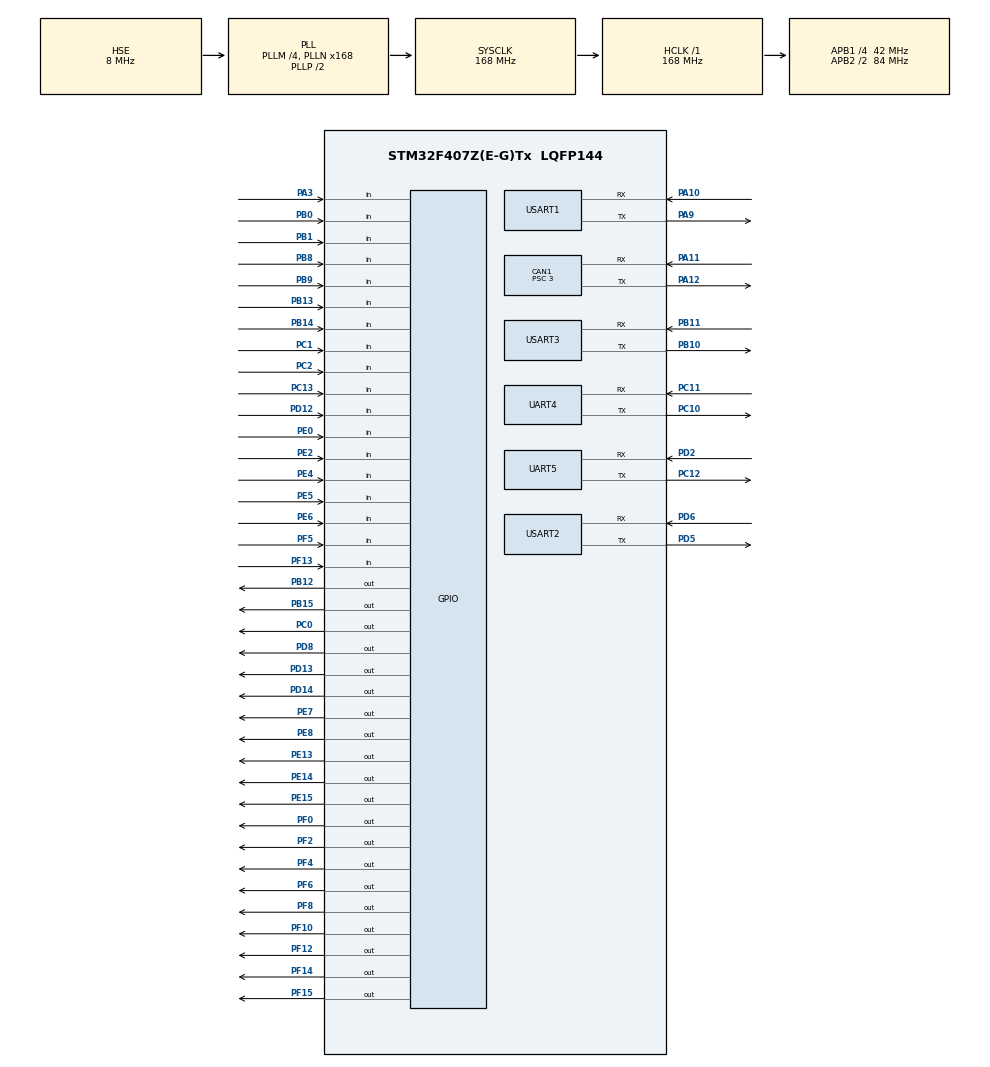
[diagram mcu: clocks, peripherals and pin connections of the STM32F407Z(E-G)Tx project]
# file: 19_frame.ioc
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CAN1.ABOM=ENABLE
CAN1.BS1=CAN_BS1_9TQ
CAN1.BS2=CAN_BS2_4TQ
CAN1.CalculateTimeBit=1000
CAN1.CalculateTimeQuantum=71.42857142857143
CAN1.Prescaler=3
CAN1.TXFP=ENABLE
Dma.Request0=USART3_RX
Dma.Request1=USART3_TX
Dma.Request2=USART1_TX
Dma.Request3=USART1_RX
Dma.USART1_RX.3.Direction=DMA_PERIPH_TO_MEMORY
Dma.USART1_RX.3.FIFOMode=DMA_FIFOMODE_DISABLE
Dma.USART1_RX.3.Instance=DMA2_Stream2
Dma.USART1_RX.3.MemDataAlignment=DMA_MDATAALIGN_BYTE
Dma.USART1_RX.3.MemInc=DMA_MINC_ENABLE
Dma.USART1_RX.3.Mode=DMA_CIRCULAR
Dma.USART1_RX.3.PeriphDataAlignment=DMA_PDATAALIGN_BYTE
Dma.USART1_RX.3.PeriphInc=DMA_PINC_DISABLE
Dma.USART1_RX.3.Priority=DMA_PRIORITY_LOW
Dma.USART1_TX.2.Direction=DMA_MEMORY_TO_PERIPH
Dma.USART1_TX.2.FIFOMode=DMA_FIFOMODE_DISABLE
Dma.USART1_TX.2.Instance=DMA2_Stream7
Dma.USART1_TX.2.MemDataAlignment=DMA_MDATAALIGN_BYTE
Dma.USART1_TX.2.MemInc=DMA_MINC_ENABLE
Dma.USART1_TX.2.Mode=DMA_NORMAL
Dma.USART1_TX.2.PeriphDataAlignment=DMA_PDATAALIGN_BYTE
Dma.USART1_TX.2.PeriphInc=DMA_PINC_DISABLE
Dma.USART1_TX.2.Priority=DMA_PRIORITY_LOW
Dma.USART3_RX.0.Direction=DMA_PERIPH_TO_MEMORY
Dma.USART3_RX.0.FIFOMode=DMA_FIFOMODE_DISABLE
Dma.USART3_RX.0.Instance=DMA1_Stream1
Dma.USART3_RX.0.MemDataAlignment=DMA_MDATAALIGN_BYTE
Dma.USART3_RX.0.MemInc=DMA_MINC_ENABLE
Dma.USART3_RX.0.Mode=DMA_CIRCULAR
Dma.USART3_RX.0.PeriphDataAlignment=DMA_PDATAALIGN_BYTE
Dma.USART3_RX.0.PeriphInc=DMA_PINC_DISABLE
Dma.USART3_RX.0.Priority=DMA_PRIORITY_LOW
Dma.USART3_TX.1.Direction=DMA_MEMORY_TO_PERIPH
Dma.USART3_TX.1.FIFOMode=DMA_FIFOMODE_DISABLE
Dma.USART3_TX.1.Instance=DMA1_Stream3
Dma.USART3_TX.1.MemDataAlignment=DMA_MDATAALIGN_BYTE
Dma.USART3_TX.1.MemInc=DMA_MINC_ENABLE
Dma.USART3_TX.1.Mode=DMA_NORMAL
Dma.USART3_TX.1.PeriphDataAlignment=DMA_PDATAALIGN_BYTE
Dma.USART3_TX.1.PeriphInc=DMA_PINC_DISABLE
Dma.USART3_TX.1.Priority=DMA_PRIORITY_LOW
Mcu.Family=STM32F4
Mcu.Name=STM32F407Z(E-G)Tx
Mcu.Package=LQFP144
NVIC.CAN1_RX0_IRQn=true\:1\:0\:true\:true\:true\:1\:true\:true
NVIC.DMA1_Stream1_IRQn=true\:0\:0\:false\:false\:true\:false\:true
NVIC.DMA1_Stream3_IRQn=true\:0\:0\:false\:false\:true\:false\:true
NVIC.DMA2_Stream2_IRQn=true\:0\:0\:false\:false\:true\:false\:true
NVIC.DMA2_Stream7_IRQn=true\:0\:0\:false\:false\:true\:false\:true
NVIC.PriorityGroup=NVIC_PRIORITYGROUP_4
NVIC.USART1_IRQn=true\:1\:0\:true\:true\:true\:2\:true\:true
NVIC.USART2_IRQn=true\:1\:0\:true\:true\:true\:3\:true\:true
NVIC.USART3_IRQn=true\:1\:0\:true\:true\:true\:4\:true\:true
PA10.Mode=Asynchronous
PA10.Signal=USART1_RX
PA11.Mode=Master
PA11.Signal=CAN1_RX
PA12.Mode=Master
PA12.Signal=CAN1_TX
PA13.Mode=Serial_Wire
PA13.Signal=SYS_JTMS-SWDIO
PA14.Mode=Serial_Wire
PA14.Signal=SYS_JTCK-SWCLK
PA3.GPIO_PuPd=GPIO_PULLUP
PA3.Signal=GPIO_Input
PA9.Mode=Asynchronous
PA9.Signal=USART1_TX
PB0.GPIO_PuPd=GPIO_PULLUP
PB0.Signal=GPIO_Input
PB1.GPIO_PuPd=GPIO_PULLUP
PB1.Signal=GPIO_Input
PB10.Mode=Asynchronous
PB10.Signal=USART3_TX
PB11.Mode=Asynchronous
PB11.Signal=USART3_RX
PB12.GPIO_PuPd=GPIO_PULLDOWN
PB12.GPIO_Speed=GPIO_SPEED_FREQ_VERY_HIGH
PB12.PinState=GPIO_PIN_SET
PB12.Signal=GPIO_Output
PB13.GPIO_PuPd=GPIO_PULLDOWN
PB13.Signal=GPIO_Input
PB14.GPIO_PuPd=GPIO_PULLDOWN
PB14.Signal=GPIO_Input
PB15.GPIO_PuPd=GPIO_PULLDOWN
PB15.GPIO_Speed=GPIO_SPEED_FREQ_VERY_HIGH
PB15.PinState=GPIO_PIN_SET
PB15.Signal=GPIO_Output
PB8.GPIO_PuPd=GPIO_PULLDOWN
PB8.Signal=GPIO_Input
PB9.GPIO_PuPd=GPIO_PULLDOWN
PB9.Signal=GPIO_Input
PC0.GPIO_ModeDefaultOutputPP=GPIO_MODE_OUTPUT_PP
PC0.GPIO_PuPd=GPIO_PULLUP
PC0.GPIO_Speed=GPIO_SPEED_FREQ_HIGH
PC0.PinState=GPIO_PIN_SET
PC0.Signal=GPIO_Output
PC1.GPIO_PuPd=GPIO_PULLDOWN
PC1.Signal=GPIO_Input
PC10.Mode=Asynchronous
PC10.Signal=UART4_TX
PC11.Mode=Asynchronous
PC11.Signal=UART4_RX
PC12.Mode=Asynchronous
PC12.Signal=UART5_TX
PC13-ANTI_TAMP.GPIO_PuPd=GPIO_PULLDOWN
PC13-ANTI_TAMP.Signal=GPIO_Input
PC2.GPIO_PuPd=GPIO_PULLDOWN
PC2.Signal=GPIO_Input
PD12.Signal=GPIO_Input
PD13.GPIO_PuPd=GPIO_PULLUP
PD13.Signal=GPIO_Output
PD14.GPIO_PuPd=GPIO_PULLDOWN
PD14.Signal=GPIO_Output
PD2.Mode=Asynchronous
PD2.Signal=UART5_RX
PD5.Mode=Asynchronous
PD5.Signal=USART2_TX
PD6.Mode=Asynchronous
PD6.Signal=USART2_RX
PD8.Signal=GPIO_Output
PE0.GPIO_PuPd=GPIO_PULLDOWN
PE0.Signal=GPIO_Input
PE13.GPIO_PuPd=GPIO_PULLDOWN
PE13.GPIO_Speed=GPIO_SPEED_FREQ_VERY_HIGH
PE13.PinState=GPIO_PIN_SET
PE13.Signal=GPIO_Output
PE14.GPIO_PuPd=GPIO_PULLDOWN
PE14.GPIO_Speed=GPIO_SPEED_FREQ_VERY_HIGH
PE14.PinState=GPIO_PIN_SET
PE14.Signal=GPIO_Output
PE15.GPIO_PuPd=GPIO_PULLDOWN
PE15.GPIO_Speed=GPIO_SPEED_FREQ_VERY_HIGH
PE15.PinState=GPIO_PIN_SET
PE15.Signal=GPIO_Output
PE2.GPIO_PuPd=GPIO_PULLDOWN
PE2.Signal=GPIO_Input
PE4.GPIO_PuPd=GPIO_PULLDOWN
PE4.Signal=GPIO_Input
PE5.GPIO_PuPd=GPIO_PULLUP
PE5.Signal=GPIO_Input
PE6.GPIO_PuPd=GPIO_PULLDOWN
PE6.Signal=GPIO_Input
PE7.PinState=GPIO_PIN_RESET
PE7.Signal=GPIO_Output
PE8.PinState=GPIO_PIN_RESET
PE8.Signal=GPIO_Output
PF0.GPIO_PuPd=GPIO_PULLDOWN
PF0.GPIO_Speed=GPIO_SPEED_FREQ_HIGH
PF0.Signal=GPIO_Output
PF10.GPIO_PuPd=GPIO_PULLDOWN
PF10.GPIO_Speed=GPIO_SPEED_FREQ_HIGH
PF10.Signal=GPIO_Output
PF12.Signal=GPIO_Output
PF13.Signal=GPIO_Input
PF14.Signal=GPIO_Output
PF15.Signal=GPIO_Output
PF2.GPIO_PuPd=GPIO_PULLDOWN
PF2.GPIO_Speed=GPIO_SPEED_FREQ_HIGH
PF2.Signal=GPIO_Output
PF4.GPIO_PuPd=GPIO_PULLDOWN
PF4.GPIO_Speed=GPIO_SPEED_FREQ_HIGH
PF4.Signal=GPIO_Output
PF5.GPIO_PuPd=GPIO_PULLUP
PF5.Signal=GPIO_Input
PF6.GPIO_PuPd=GPIO_PULLDOWN
PF6.GPIO_Speed=GPIO_SPEED_FREQ_HIGH
PF6.Signal=GPIO_Output
PF8.GPIO_PuPd=GPIO_PULLDOWN
PF8.GPIO_Speed=GPIO_SPEED_FREQ_HIGH
PF8.Signal=GPIO_Output
PH0-OSC_IN.Mode=HSE-External-Oscillator
PH0-OSC_IN.Signal=RCC_OSC_IN
PH1-OSC_OUT.Mode=HSE-External-Oscillator
PH1-OSC_OUT.Signal=RCC_OSC_OUT
ProjectManager.HeapSize=0x600
ProjectManager.StackSize=0x1200
ProjectManager.TargetToolchain=Makefile
RCC.48MHZClocksFreq_Value=84000000
RCC.AHBFreq_Value=168000000
RCC.APB1CLKDivider=RCC_HCLK_DIV4
RCC.APB1Freq_Value=42000000
RCC.APB1TimFreq_Value=84000000
RCC.APB2CLKDivider=RCC_HCLK_DIV2
RCC.APB2Freq_Value=84000000
RCC.APB2TimFreq_Value=168000000
RCC.CortexFreq_Value=168000000
RCC.HCLKFreq_Value=168000000
RCC.HSE_VALUE=8000000
RCC.HSI_VALUE=16000000
RCC.LSE_VALUE=32768
RCC.PLLM=4
RCC.PLLN=168
RCC.PLLSourceVirtual=RCC_PLLSOURCE_HSE
RCC.SYSCLKFreq_VALUE=168000000
RCC.SYSCLKSource=RCC_SYSCLKSOURCE_PLLCLK
RCC.VCOOutputFreq_Value=336000000
TIM2.AutoReloadPreload=TIM_AUTORELOAD_PRELOAD_ENABLE
TIM2.Period=1000-1
TIM2.Prescaler=168-1
TIM3.Period=9999
TIM3.Prescaler=71
UART4.VirtualMode=Asynchronous
UART5.VirtualMode=Asynchronous
USART1.VirtualMode=VM_ASYNC
USART2.VirtualMode=VM_ASYNC
USART3.VirtualMode=VM_ASYNC
VP_TIM2_VS_ClockSourceINT.Mode=Internal
VP_TIM3_VS_ClockSourceINT.Mode=Internal
board=MR1_Chassis

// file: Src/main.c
/* USER CODE BEGIN Header */
/**
  ******************************************************************************
  * @file           : main.c
  * @brief          : Main program body
  ******************************************************************************
  * @attention
  *
  * <h2><center>&copy; Copyright (c) 2019 STMicroelectronics.
  * All rights reserved.</center></h2>
  *
  * This software component is licensed by ST under BSD 3-Clause license,
  * the "License"; You may not use this file except in compliance with the
  * License. You may obtain a copy of the License at:
  *                        opensource.org/licenses/BSD-3-Clause
  *
  ******************************************************************************
  */
/* USER CODE END Header */

#include "main.h"
#include "can.h"
#include "dma.h"
#include "tim.h"
#include "usart.h"
#include "gpio.h"

/* USER CODE BEGIN Includes */
#include "simplelib.h"
#include "cmd_func.h"
#include "task.h"
#include "flags.h"
#include "kick.h"

/* USER CODE END Includes */

void SystemClock_Config(void);
static void MX_NVIC_Init(void);

int main(void)
{

  /* MCU Configuration--------------------------------------------------------*/

  /* Reset of all peripherals, Initializes the Flash interface and the Systick. */
  HAL_Init();

  /* Configure the system clock */
  SystemClock_Config();

  /* Initialize all configured peripherals */
  MX_GPIO_Init();
  MX_DMA_Init();
  MX_CAN1_Init();
  MX_USART1_UART_Init();
  MX_USART2_UART_Init();
  MX_USART3_UART_Init();
  MX_UART5_Init();
  MX_UART4_Init();
  MX_TIM3_Init();
  MX_TIM2_Init();

  /* Initialize interrupts */
  MX_NVIC_Init();
  /* USER CODE BEGIN 2 */
    simplelib_init(&huart3, &hcan1);
    task_init();

  /* USER CODE END 2 */

  /* Infinite loop */
  /* USER CODE BEGIN WHILE */
    while (1) {
      simplelib_run();
      if (test_flag) {
        if (_5ms) {
          _5ms = 0;
          kick_test(&kick_ctrl);
        }
      }

    /* USER CODE END WHILE */

    }
}

void SystemClock_Config(void)
{
  RCC_OscInitTypeDef RCC_OscInitStruct = {0};
  RCC_ClkInitTypeDef RCC_ClkInitStruct = {0};

  /** Configure the main internal regulator output voltage
  */
  __HAL_RCC_PWR_CLK_ENABLE();
  __HAL_PWR_VOLTAGESCALING_CONFIG(PWR_REGULATOR_VOLTAGE_SCALE1);
  /** Initializes the CPU, AHB and APB busses clocks
  */
  RCC_OscInitStruct.OscillatorType = RCC_OSCILLATORTYPE_HSE;
  RCC_OscInitStruct.HSEState = RCC_HSE_ON;
  RCC_OscInitStruct.PLL.PLLState = RCC_PLL_ON;
  RCC_OscInitStruct.PLL.PLLSource = RCC_PLLSOURCE_HSE;
  RCC_OscInitStruct.PLL.PLLM = 4;
  RCC_OscInitStruct.PLL.PLLN = 168;
  RCC_OscInitStruct.PLL.PLLP = RCC_PLLP_DIV2;
  RCC_OscInitStruct.PLL.PLLQ = 4;
  if (HAL_RCC_OscConfig(&RCC_OscInitStruct) != HAL_OK)
  {
    Error_Handler();
  }
  /** Initializes the CPU, AHB and APB busses clocks
  */
  RCC_ClkInitStruct.ClockType = RCC_CLOCKTYPE_HCLK|RCC_CLOCKTYPE_SYSCLK
                              |RCC_CLOCKTYPE_PCLK1|RCC_CLOCKTYPE_PCLK2;
  RCC_ClkInitStruct.SYSCLKSource = RCC_SYSCLKSOURCE_PLLCLK;
  RCC_ClkInitStruct.AHBCLKDivider = RCC_SYSCLK_DIV1;
  RCC_ClkInitStruct.APB1CLKDivider = RCC_HCLK_DIV4;
  RCC_ClkInitStruct.APB2CLKDivider = RCC_HCLK_DIV2;

  if (HAL_RCC_ClockConfig(&RCC_ClkInitStruct, FLASH_LATENCY_5) != HAL_OK)
  {
    Error_Handler();
  }
}

/**
  * @brief NVIC Configuration.
  * @retval None
  */
static void MX_NVIC_Init(void)
{
  /* CAN1_RX0_IRQn interrupt configuration */
  HAL_NVIC_SetPriority(CAN1_RX0_IRQn, 1, 0);
  HAL_NVIC_EnableIRQ(CAN1_RX0_IRQn);
  /* USART1_IRQn interrupt configuration */
  HAL_NVIC_SetPriority(USART1_IRQn, 1, 0);
  HAL_NVIC_EnableIRQ(USART1_IRQn);
  /* USART2_IRQn interrupt configuration */
  HAL_NVIC_SetPriority(USART2_IRQn, 1, 0);
  HAL_NVIC_EnableIRQ(USART2_IRQn);
  /* USART3_IRQn interrupt configuration */
  HAL_NVIC_SetPriority(USART3_IRQn, 1, 0);
  HAL_NVIC_EnableIRQ(USART3_IRQn);
}

/* USER CODE BEGIN 4 */
static uint32_t time_cnt = 0;
void HAL_SYSTICK_Callback(void) {
  time_cnt++;
  if (time_cnt++ % 5 == 0) {
    _5ms = 1;
  }
  if (time_cnt == 10000) {
    time_cnt = 0;
  }
  #ifdef SL_DEBUG
  //uprintf("time test\r\n");
  #endif // SL_DEBUG
}

/* USER CODE END 4 */

void Error_Handler(void)
{
}

#ifdef  USE_FULL_ASSERT
/**
  * @brief  Reports the name of the source file and the source line number
  *         where the assert_param error has occurred.
  * @param  file: pointer to the source file name
  * @param  line: assert_param error line source number
  * @retval None
  */
void assert_failed(uint8_t *file, uint32_t line)
{
  /* USER CODE BEGIN 6 */
    /* User can add his own implementation to report the file name and line
      number,
      tex: printf("Wrong parameters value: file %s on line %d\r\n", file, line)
    */
  /* USER CODE END 6 */
}
#endif /* USE_FULL_ASSERT */

/************************ (C) COPYRIGHT STMicroelectronics *****END OF FILE****/
